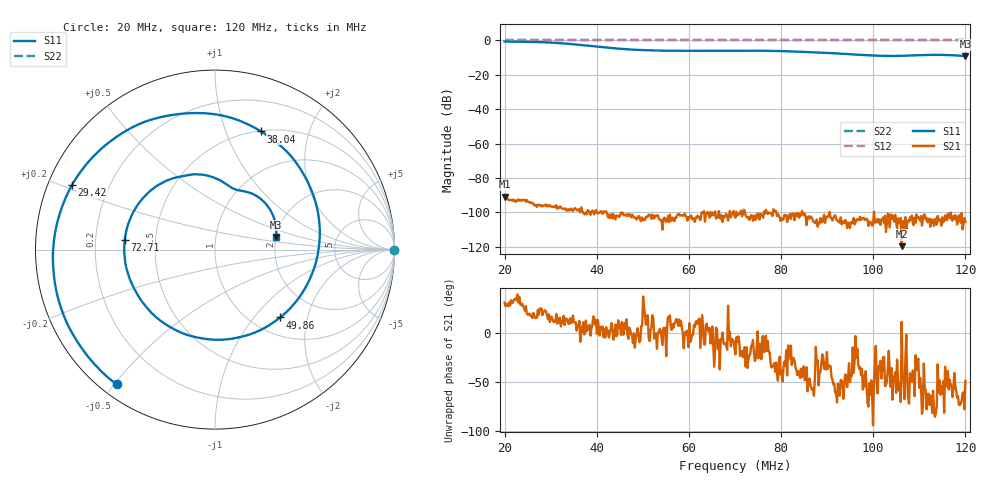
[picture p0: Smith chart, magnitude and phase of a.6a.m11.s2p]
! Anritsu VNA Master:  Model: MS2036C/10/77
! SN:  1601066
! /bd0/18may07/256.ew.m11.s2p
! Existing Calibration Information:
! TYPE:  Current Settings,  Active Cal Settings
! TIME:  05/07/2018 02:24:27 PM,  05/07/2018 02:21:54 PM
! INTERNAL TEMP:  56.0 C,  55.5 C
! # POINTS:  500,  500
! START FREQ:  20.000 MHz,  20.000 MHz
! STOP FREQ:  120.000 MHz,  120.000 MHz
! SOURCE POWER:  High,  High
! IFBW:  50 Hz,  50 Hz
! AVG FACTOR:  1 ,  1
! REF PLANE 1:  0 mm,  0 mm
! REF PLANE 2:  0 mm,  0 mm
! CAL TYPE:  Full S11,  Full S11
! CAL METHOD:  SOLT,  SOLT
! CAL LINE TYPE:  Coax,  Coax
! DUT PORT 1:  K-Conn(F),  K-Conn(F)
! DUT PORT 2:  K-Conn(F),  K-Conn(F)
! CAL STATUS:  OK: Accuracy High,  --
# GHZ S DB R 50.0
! FREQ.GHZ  S11DB  S11A  S21DB  S21A  S12DB  S12A  S22DB  S22A
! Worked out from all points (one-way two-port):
!   500 points, 20 MHz to 120 MHz, reference 50 ohm
!   highest |S21| = -90.91 dB at 20 MHz (marker M1); lowest = -119.8 dB at 106.2 MHz (marker M2)
!   lowest |S11| = -9.2 dB at 120 MHz (marker M3), VSWR 2.06, Z = 99.5 + j15.9 ohm
!   |S11| at or under -10 dB: nowhere
!   |S22| runs from 0.0 to 0.0 dB; largest |S21 - S12| = 1
!   S11 on the Smith chart (normalised r, x): 20 MHz: 0.05, -0.51; 29.42 MHz: 0.07, +0.22; 38.04 MHz: 0.51, +1.33; 49.86 MHz: 1.32, -1.38; 72.71 MHz: 0.33, +0.05; 120 MHz: 1.99, +0.32
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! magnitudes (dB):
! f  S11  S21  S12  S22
! 20 MHz  -0.6  -90.9  0.0  0.0
! 25.01 MHz  -0.8  -93.7  0.0  0.0
! 29.42 MHz  -1.2  -96.1  0.0  0.0
! 33.03 MHz  -1.8  -97.9  0.0  0.0
! 36.83 MHz  -2.7  -99.2  0.0  0.0
! 38.04 MHz  -3.0  -98.8  0.0  0.0
! 44.65 MHz  -4.8  -102.1  0.0  0.0
! 49.86 MHz  -5.6  -103.1  0.0  0.0
! 53.47 MHz  -5.9  -103.8  0.0  0.0
! 60.08 MHz  -6.0  -103.4  0.0  0.0
! 70.1 MHz  -5.9  -103.2  0.0  0.0
! 72.71 MHz  -5.9  -103.2  0.0  0.0
! 80.52 MHz  -6.2  -103.9  0.0  0.0
! 86.73 MHz  -6.9  -103.5  0.0  0.0
! 90.94 MHz  -7.4  -103.7  0.0  0.0
! 99.56 MHz  -8.7  -106.0  0.0  0.0
! 103.4 MHz  -9.0  -104.7  0.0  0.0
! 106.2 MHz  -8.9  -119.8  0.0  0.0
! 111.6 MHz  -8.4  -103.2  0.0  0.0
! 114.4 MHz  -8.4  -104.1  0.0  0.0
! 117.4 MHz  -8.6  -102.2  0.0  0.0
! 120 MHz  -9.2  -105.6  0.0  0.0
